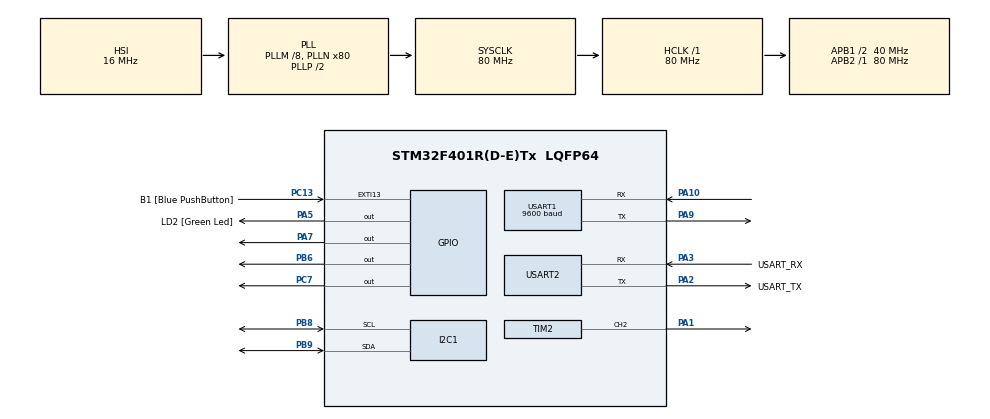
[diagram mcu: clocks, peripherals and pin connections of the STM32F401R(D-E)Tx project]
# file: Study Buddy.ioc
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Mcu.Family=STM32F4
Mcu.Name=STM32F401R(D-E)Tx
Mcu.Package=LQFP64
NVIC.PriorityGroup=NVIC_PRIORITYGROUP_0
NVIC.RTC_Alarm_IRQn=true\:0\:0\:false\:false\:true\:true\:true\:true
PA1.Signal=S_TIM2_CH2
PA10.Mode=Asynchronous
PA10.Signal=USART1_RX
PA13.GPIO_Label=TMS
PA13.Mode=Serial_Wire
PA13.Signal=SYS_JTMS-SWDIO
PA14.GPIO_Label=TCK
PA14.Mode=Serial_Wire
PA14.Signal=SYS_JTCK-SWCLK
PA2.GPIO_Label=USART_TX
PA2.GPIO_Mode=GPIO_MODE_AF_PP
PA2.GPIO_PuPd=GPIO_NOPULL
PA2.GPIO_Speed=GPIO_SPEED_FREQ_LOW
PA2.Mode=Asynchronous
PA2.Signal=USART2_TX
PA3.GPIO_Label=USART_RX
PA3.GPIO_Mode=GPIO_MODE_AF_PP
PA3.GPIO_PuPd=GPIO_NOPULL
PA3.GPIO_Speed=GPIO_SPEED_FREQ_LOW
PA3.Mode=Asynchronous
PA3.Signal=USART2_RX
PA5.GPIO_Label=LD2 [Green Led]
PA5.GPIO_Mode=GPIO_MODE_OUTPUT_PP
PA5.GPIO_PuPd=GPIO_NOPULL
PA5.GPIO_Speed=GPIO_SPEED_FREQ_LOW
PA5.Signal=GPIO_Output
PA7.Signal=GPIO_Output
PA9.Mode=Asynchronous
PA9.Signal=USART1_TX
PB3.GPIO_Label=SWO
PB3.Signal=SYS_JTDO-SWO
PB6.Signal=GPIO_Output
PB8.Mode=I2C
PB8.Signal=I2C1_SCL
PB9.Mode=I2C
PB9.Signal=I2C1_SDA
PC13-ANTI_TAMP.GPIO_Label=B1 [Blue PushButton]
PC13-ANTI_TAMP.GPIO_ModeDefaultEXTI=GPIO_MODE_IT_FALLING
PC13-ANTI_TAMP.GPIO_PuPd=GPIO_NOPULL
PC13-ANTI_TAMP.Signal=GPXTI13
PC14-OSC32_IN.Mode=LSE-External-Oscillator
PC14-OSC32_IN.Signal=RCC_OSC32_IN
PC15-OSC32_OUT.Mode=LSE-External-Oscillator
PC15-OSC32_OUT.Signal=RCC_OSC32_OUT
PC7.Signal=GPIO_Output
PH0\ -\ OSC_IN.Mode=HSE-External-Oscillator
PH0\ -\ OSC_IN.Signal=RCC_OSC_IN
PH1\ -\ OSC_OUT.Mode=HSE-External-Oscillator
PH1\ -\ OSC_OUT.Signal=RCC_OSC_OUT
ProjectManager.HeapSize=0x200
ProjectManager.StackSize=0x400
ProjectManager.TargetToolchain=STM32CubeIDE
RCC.48MHZClocksFreq_Value=22857142.85714286
RCC.AHBFreq_Value=80000000
RCC.APB1CLKDivider=RCC_HCLK_DIV2
RCC.APB1Freq_Value=40000000
RCC.APB1TimFreq_Value=80000000
RCC.APB2Freq_Value=80000000
RCC.APB2TimFreq_Value=80000000
RCC.CortexFreq_Value=80000000
RCC.HCLKFreq_Value=80000000
RCC.HSE_VALUE=8000000
RCC.HSI_VALUE=16000000
RCC.PLLM=8
RCC.PLLN=80
RCC.PLLQ=7
RCC.SYSCLKFreq_VALUE=80000000
RCC.SYSCLKSource=RCC_SYSCLKSOURCE_PLLCLK
RCC.VCOOutputFreq_Value=160000000
RTC.Alarm=RTC_ALARM_A
RTC.Seconds_A=1
SH.S_TIM2_CH2.0=TIM2_CH2,PWM Generation2 CH2
TIM2.AutoReloadPreload=TIM_AUTORELOAD_PRELOAD_ENABLE
TIM2.Channel-PWM\ Generation2\ CH2=TIM_CHANNEL_2
TIM2.Period=499
TIM2.Prescaler=83
TIM2.Pulse-PWM\ Generation2\ CH2=250
USART1.BaudRate=9600
USART1.VirtualMode=VM_ASYNC
USART2.VirtualMode=VM_ASYNC
VP_RTC_VS_RTC_Activate.Mode=RTC_Enabled
VP_RTC_VS_RTC_Alarm_A_Intern.Mode=Alarm A
VP_RTC_VS_RTC_Calendar.Mode=RTC_Calendar
VP_TIM2_VS_ClockSourceINT.Mode=Internal
board=NUCLEO-F401RE

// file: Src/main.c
/* USER CODE BEGIN Header */
/**
  ******************************************************************************
  * @file           : main.c
  * @brief          : Main program body
  ******************************************************************************
  * @attention
  *
  * Copyright (c) 2024 STMicroelectronics.
  * All rights reserved.
  *
  * This software is licensed under terms that can be found in the LICENSE file
  * in the root directory of this software component.
  * If no LICENSE file comes with this software, it is provided AS-IS.
  *
  ******************************************************************************
  */
/* USER CODE END Header */
#include "main.h"

/* USER CODE BEGIN Includes */
#include <string.h>
#include <stdio.h>
#include "stdio.h"
#include "i2c-lcd.h"
#include "custom_chars.h"

/* USER CODE END Includes */

I2C_HandleTypeDef hi2c1;

RTC_HandleTypeDef hrtc;

TIM_HandleTypeDef htim2;

UART_HandleTypeDef huart1;
UART_HandleTypeDef huart2;

/* USER CODE BEGIN PV */
char msg[20];
char receivedButton;
int curScreen = MAIN;
int alarmSet = 0;
int timerSet = 0;
int melody[] = {
    NOTE_C4, NOTE_G4, NOTE_F4, NOTE_C4, NOTE_E4, NOTE_E4, NOTE_F4, NOTE_C4, NOTE_F4, NOTE_C4, NOTE_E4, NOTE_E4, NOTE_F4,
    NOTE_C4, NOTE_G4, NOTE_F4, NOTE_C4, NOTE_E4, NOTE_E4, NOTE_F4, NOTE_C4, NOTE_F4, NOTE_A4, NOTE_G4, NOTE_F4, NOTE_G4
};
int noteDurations[] = {
    450, 450, 450, 450, 450, 450, 450, 450, 450, 450, 450, 450, 450,
	450, 450, 450, 450, 450, 450, 450, 450, 450, 450, 450, 450, 450
};
int alarmTriggered = 0;
uint8_t clock[8] = {0x00,
		  			0x00,
					0x0E,
					0x15,
					0x17,
					0x11,
					0x0E,
					0x00};

uint8_t bell[8] = {
  0x00,
  0x04,
  0x0E,
  0x0E,
  0x0E,
  0x1F,
  0x00,
  0x04
};

uint8_t check[8] = {
	0x00,
	0x00,
	0x00,
	0x01,
	0x02,
	0x14,
	0x08,
	0x00
};

/* USER CODE END PV */

void SystemClock_Config(void);
static void MX_GPIO_Init(void);
static void MX_USART2_UART_Init(void);
static void MX_RTC_Init(void);
static void MX_I2C1_Init(void);
static void MX_USART1_UART_Init(void);
static void MX_TIM2_Init(void);

int main(void)
{

  /* MCU Configuration--------------------------------------------------------*/

  /* Reset of all peripherals, Initializes the Flash interface and the Systick. */
  HAL_Init();

  /* Configure the system clock */
  SystemClock_Config();

  /* Initialize all configured peripherals */
  MX_GPIO_Init();
  MX_USART2_UART_Init();
  MX_RTC_Init();
  MX_I2C1_Init();
  MX_USART1_UART_Init();
  MX_TIM2_Init();
  /* USER CODE BEGIN 2 */

  HAL_RTC_DeactivateAlarm(&hrtc, RTC_ALARM_A);

  LCD_Init();
  LCD_Clear();
  LCD_Command(0x0F); // Display on, cursor on, blinking cursor on
  LCD_Command(0x80);

  HAL_Delay(50);
  LCD_Menu(TIME_SETUP);
  LCD_Menu(DATE_SETUP);

//  setRTCTimer(&hrtc, 15, 0, 0);
//  timerSet = 1;

  //  LCD_CreateChar(0, clock); //

  LCD_CreateCustomChar(CHAR_CLOCK, clock);
  LCD_CreateCustomChar(CHAR_BELL, bell);
  LCD_CreateCustomChar(CHAR_CHECK, check);

//  LCD_Data(CHAR_CLOCK);
//  LCD_Print("Hello!");

  /* USER CODE END 2 */

  /* Infinite loop */
  /* USER CODE BEGIN WHILE */
  while (1)
  {
//	  printCurrentTime();
	  				sprintf(msg, "T:%d\r\n", curScreen);
	  				HAL_UART_Transmit(&huart2, (uint8_t*)msg, strlen(msg), HAL_MAX_DELAY);
	  				int menuResult = LCD_Menu(curScreen);  // Process current menu
	  				    if (menuResult == SET_TIMER) {
	  				        curScreen = SET_TIMER;  // After setting the timer, return to the main menu
	  				        timerSet = 1;      // Indicate that the timer is set
	  				    } else if (menuResult == SET_ALARM) {
	  				        curScreen = SET_ALARM;  // After setting the alarm, return to the main menu
	  				        alarmSet = 1;      // Indicate that the alarm is set
	  				    } else if (menuResult == MAIN) {
	  				        curScreen = MAIN;  // Stay in the main menu
	  				    }
  }
    /* USER CODE END WHILE */

}

void SystemClock_Config(void)
{
  RCC_OscInitTypeDef RCC_OscInitStruct = {0};
  RCC_ClkInitTypeDef RCC_ClkInitStruct = {0};

  /** Configure the main internal regulator output voltage
  */
  __HAL_RCC_PWR_CLK_ENABLE();
  __HAL_PWR_VOLTAGESCALING_CONFIG(PWR_REGULATOR_VOLTAGE_SCALE2);

  /** Initializes the RCC Oscillators according to the specified parameters
  * in the RCC_OscInitTypeDef structure.
  */
  RCC_OscInitStruct.OscillatorType = RCC_OSCILLATORTYPE_HSI|RCC_OSCILLATORTYPE_LSI;
  RCC_OscInitStruct.HSIState = RCC_HSI_ON;
  RCC_OscInitStruct.HSICalibrationValue = RCC_HSICALIBRATION_DEFAULT;
  RCC_OscInitStruct.LSIState = RCC_LSI_ON;
  RCC_OscInitStruct.PLL.PLLState = RCC_PLL_ON;
  RCC_OscInitStruct.PLL.PLLSource = RCC_PLLSOURCE_HSI;
  RCC_OscInitStruct.PLL.PLLM = 8;
  RCC_OscInitStruct.PLL.PLLN = 80;
  RCC_OscInitStruct.PLL.PLLP = RCC_PLLP_DIV2;
  RCC_OscInitStruct.PLL.PLLQ = 7;
  if (HAL_RCC_OscConfig(&RCC_OscInitStruct) != HAL_OK)
  {
    Error_Handler();
  }

  /** Initializes the CPU, AHB and APB buses clocks
  */
  RCC_ClkInitStruct.ClockType = RCC_CLOCKTYPE_HCLK|RCC_CLOCKTYPE_SYSCLK
                              |RCC_CLOCKTYPE_PCLK1|RCC_CLOCKTYPE_PCLK2;
  RCC_ClkInitStruct.SYSCLKSource = RCC_SYSCLKSOURCE_PLLCLK;
  RCC_ClkInitStruct.AHBCLKDivider = RCC_SYSCLK_DIV1;
  RCC_ClkInitStruct.APB1CLKDivider = RCC_HCLK_DIV2;
  RCC_ClkInitStruct.APB2CLKDivider = RCC_HCLK_DIV1;

  if (HAL_RCC_ClockConfig(&RCC_ClkInitStruct, FLASH_LATENCY_2) != HAL_OK)
  {
    Error_Handler();
  }
}

static void MX_I2C1_Init(void)
{

  hi2c1.Instance = I2C1;
  hi2c1.Init.ClockSpeed = 100000;
  hi2c1.Init.DutyCycle = I2C_DUTYCYCLE_2;
  hi2c1.Init.OwnAddress1 = 0;
  hi2c1.Init.AddressingMode = I2C_ADDRESSINGMODE_7BIT;
  hi2c1.Init.DualAddressMode = I2C_DUALADDRESS_DISABLE;
  hi2c1.Init.OwnAddress2 = 0;
  hi2c1.Init.GeneralCallMode = I2C_GENERALCALL_DISABLE;
  hi2c1.Init.NoStretchMode = I2C_NOSTRETCH_DISABLE;
  if (HAL_I2C_Init(&hi2c1) != HAL_OK)
  {
    Error_Handler();
  }

}

static void MX_RTC_Init(void)
{

  /* USER CODE BEGIN RTC_Init 0 */
	HAL_NVIC_SetPriority(RTC_Alarm_IRQn, 0, 0);
	HAL_NVIC_EnableIRQ(RTC_Alarm_IRQn);
  /* USER CODE END RTC_Init 0 */

  RTC_TimeTypeDef sTime = {0};
  RTC_DateTypeDef sDate = {0};
  RTC_AlarmTypeDef sAlarm = {0};

  /** Initialize RTC Only
  */
  hrtc.Instance = RTC;
  hrtc.Init.HourFormat = RTC_HOURFORMAT_24;
  hrtc.Init.AsynchPrediv = 127;
  hrtc.Init.SynchPrediv = 255;
  hrtc.Init.OutPut = RTC_OUTPUT_DISABLE;
  hrtc.Init.OutPutPolarity = RTC_OUTPUT_POLARITY_HIGH;
  hrtc.Init.OutPutType = RTC_OUTPUT_TYPE_OPENDRAIN;
  if (HAL_RTC_Init(&hrtc) != HAL_OK)
  {
    Error_Handler();
  }

  /** Initialize RTC and set the Time and Date
  */
  sTime.Hours = 0x0;
  sTime.Minutes = 0x0;
  sTime.Seconds = 0x0;
  sTime.DayLightSaving = RTC_DAYLIGHTSAVING_NONE;
  sTime.StoreOperation = RTC_STOREOPERATION_RESET;
  if (HAL_RTC_SetTime(&hrtc, &sTime, RTC_FORMAT_BCD) != HAL_OK)
  {
    Error_Handler();
  }
  sDate.WeekDay = RTC_WEEKDAY_MONDAY;
  sDate.Month = RTC_MONTH_JANUARY;
  sDate.Date = 0x1;
  sDate.Year = 0x0;

  if (HAL_RTC_SetDate(&hrtc, &sDate, RTC_FORMAT_BCD) != HAL_OK)
  {
    Error_Handler();
  }

  /** Enable the Alarm A
  */
  sAlarm.AlarmTime.Hours = 0x0;
  sAlarm.AlarmTime.Minutes = 0x0;
  sAlarm.AlarmTime.Seconds = 0x1;
  sAlarm.AlarmTime.SubSeconds = 0x0;
  sAlarm.AlarmTime.DayLightSaving = RTC_DAYLIGHTSAVING_NONE;
  sAlarm.AlarmTime.StoreOperation = RTC_STOREOPERATION_RESET;
  sAlarm.AlarmMask = RTC_ALARMMASK_NONE;
  sAlarm.AlarmSubSecondMask = RTC_ALARMSUBSECONDMASK_ALL;
  sAlarm.AlarmDateWeekDaySel = RTC_ALARMDATEWEEKDAYSEL_DATE;
  sAlarm.AlarmDateWeekDay = 0x1;
  sAlarm.Alarm = RTC_ALARM_A;
  if (HAL_RTC_SetAlarm_IT(&hrtc, &sAlarm, RTC_FORMAT_BCD) != HAL_OK)
  {
    Error_Handler();
  }

}

static void MX_TIM2_Init(void)
{

  TIM_ClockConfigTypeDef sClockSourceConfig = {0};
  TIM_MasterConfigTypeDef sMasterConfig = {0};
  TIM_OC_InitTypeDef sConfigOC = {0};

  htim2.Instance = TIM2;
  htim2.Init.Prescaler = 83;
  htim2.Init.CounterMode = TIM_COUNTERMODE_UP;
  htim2.Init.Period = 499;
  htim2.Init.ClockDivision = TIM_CLOCKDIVISION_DIV1;
  htim2.Init.AutoReloadPreload = TIM_AUTORELOAD_PRELOAD_ENABLE;
  if (HAL_TIM_Base_Init(&htim2) != HAL_OK)
  {
    Error_Handler();
  }
  sClockSourceConfig.ClockSource = TIM_CLOCKSOURCE_INTERNAL;
  if (HAL_TIM_ConfigClockSource(&htim2, &sClockSourceConfig) != HAL_OK)
  {
    Error_Handler();
  }
  if (HAL_TIM_PWM_Init(&htim2) != HAL_OK)
  {
    Error_Handler();
  }
  sMasterConfig.MasterOutputTrigger = TIM_TRGO_RESET;
  sMasterConfig.MasterSlaveMode = TIM_MASTERSLAVEMODE_DISABLE;
  if (HAL_TIMEx_MasterConfigSynchronization(&htim2, &sMasterConfig) != HAL_OK)
  {
    Error_Handler();
  }
  sConfigOC.OCMode = TIM_OCMODE_PWM1;
  sConfigOC.Pulse = 250;
  sConfigOC.OCPolarity = TIM_OCPOLARITY_HIGH;
  sConfigOC.OCFastMode = TIM_OCFAST_DISABLE;
  if (HAL_TIM_PWM_ConfigChannel(&htim2, &sConfigOC, TIM_CHANNEL_2) != HAL_OK)
  {
    Error_Handler();
  }
  HAL_TIM_MspPostInit(&htim2);

}

static void MX_USART1_UART_Init(void)
{

  /* USER CODE BEGIN USART1_Init 0 */
//	_HAL_RCC_USART1_CLK_ENABLE();

  /* USER CODE END USART1_Init 0 */

  huart1.Instance = USART1;
  huart1.Init.BaudRate = 9600;
  huart1.Init.WordLength = UART_WORDLENGTH_8B;
  huart1.Init.StopBits = UART_STOPBITS_1;
  huart1.Init.Parity = UART_PARITY_NONE;
  huart1.Init.Mode = UART_MODE_TX_RX;
  huart1.Init.HwFlowCtl = UART_HWCONTROL_NONE;
  huart1.Init.OverSampling = UART_OVERSAMPLING_16;
  if (HAL_UART_Init(&huart1) != HAL_OK)
  {
    Error_Handler();
  }

}

static void MX_USART2_UART_Init(void)
{

  huart2.Instance = USART2;
  huart2.Init.BaudRate = 115200;
  huart2.Init.WordLength = UART_WORDLENGTH_8B;
  huart2.Init.StopBits = UART_STOPBITS_1;
  huart2.Init.Parity = UART_PARITY_NONE;
  huart2.Init.Mode = UART_MODE_TX_RX;
  huart2.Init.HwFlowCtl = UART_HWCONTROL_NONE;
  huart2.Init.OverSampling = UART_OVERSAMPLING_16;
  if (HAL_UART_Init(&huart2) != HAL_OK)
  {
    Error_Handler();
  }

}

static void MX_GPIO_Init(void)
{
  GPIO_InitTypeDef GPIO_InitStruct = {0};

  /* GPIO Ports Clock Enable */
  __HAL_RCC_GPIOC_CLK_ENABLE();
  __HAL_RCC_GPIOH_CLK_ENABLE();
  __HAL_RCC_GPIOA_CLK_ENABLE();
  __HAL_RCC_GPIOB_CLK_ENABLE();

  /*Configure GPIO pin Output Level */
  HAL_GPIO_WritePin(GPIOA, LD2_Pin|GPIO_PIN_7, GPIO_PIN_RESET);

  /*Configure GPIO pin Output Level */
  HAL_GPIO_WritePin(GPIOC, GPIO_PIN_7, GPIO_PIN_RESET);

  /*Configure GPIO pin Output Level */
  HAL_GPIO_WritePin(GPIOB, GPIO_PIN_6, GPIO_PIN_RESET);

  /*Configure GPIO pin : B1_Pin */
  GPIO_InitStruct.Pin = B1_Pin;
  GPIO_InitStruct.Mode = GPIO_MODE_IT_FALLING;
  GPIO_InitStruct.Pull = GPIO_NOPULL;
  HAL_GPIO_Init(B1_GPIO_Port, &GPIO_InitStruct);

  /*Configure GPIO pins : LD2_Pin PA7 */
  GPIO_InitStruct.Pin = LD2_Pin|GPIO_PIN_7;
  GPIO_InitStruct.Mode = GPIO_MODE_OUTPUT_PP;
  GPIO_InitStruct.Pull = GPIO_NOPULL;
  GPIO_InitStruct.Speed = GPIO_SPEED_FREQ_LOW;
  HAL_GPIO_Init(GPIOA, &GPIO_InitStruct);

  /*Configure GPIO pin : PC7 */
  GPIO_InitStruct.Pin = GPIO_PIN_7;
  GPIO_InitStruct.Mode = GPIO_MODE_OUTPUT_PP;
  GPIO_InitStruct.Pull = GPIO_NOPULL;
  GPIO_InitStruct.Speed = GPIO_SPEED_FREQ_LOW;
  HAL_GPIO_Init(GPIOC, &GPIO_InitStruct);

  /*Configure GPIO pin : PB6 */
  GPIO_InitStruct.Pin = GPIO_PIN_6;
  GPIO_InitStruct.Mode = GPIO_MODE_OUTPUT_PP;
  GPIO_InitStruct.Pull = GPIO_NOPULL;
  GPIO_InitStruct.Speed = GPIO_SPEED_FREQ_LOW;
  HAL_GPIO_Init(GPIOB, &GPIO_InitStruct);

}

/* USER CODE BEGIN 4 */
void printCurrentTime(){
	RTC_TimeTypeDef currentTime;
	RTC_DateTypeDef currentDate;

	HAL_RTC_GetTime(&hrtc, &currentTime, FORMAT_BIN);
	HAL_RTC_GetDate(&hrtc, &currentDate, FORMAT_BIN);

	sprintf(msg, "%02d:%02d:%02d", currentTime.Hours, currentTime.Minutes, currentTime.Seconds);
	HAL_UART_Transmit(&huart2, (uint8_t*)msg, strlen(msg), HAL_MAX_DELAY);
}

int LCD_Menu(int menu){
	if (menu == MAIN){
		char timeBuffer[10];    // Buffer for "HH:MM" (5 chars + 1 null terminator)
		char dateBuffer[10];
		char menuLine1[20];    // Buffer for full LCD line (adjust size as needed)
		char menuLine2[20];
		char remainBuffer[10] = {0};
		int pos = 0;
		uint32_t lastUpdate = HAL_GetTick(); // For time updates

		RTC_TimeTypeDef currentTime;
		RTC_DateTypeDef currentDate;

						    // Get the current time and date
		while (true){
			if (HAL_UART_Receive(&huart1, (uint8_t*)&receivedButton, 1, 10) == HAL_OK){
				sprintf(msg, "%d\r\n", pos);
											HAL_UART_Transmit(&huart2, (uint8_t*)msg, strlen(msg), HAL_MAX_DELAY);
				if (receivedButton == 'L') {
					LCD_Command(0x10); // Move cursor left
					--pos;
					LCD_Command(0x80 + pos); // Update cursor position
				}
				else if (receivedButton == 'R') {
					LCD_Command(0x14); // Move cursor right
					++pos;
					LCD_Command(0x80 + pos); // Update cursor position
				} else if ((pos == 14) && (receivedButton == '0')){
					return SET_TIMER;
				} else if ((pos == 15) && (receivedButton == '0')){
					return SET_ALARM;
				}
			}
			if (HAL_GetTick() - lastUpdate >= 1000) { // 1-second interval
			    lastUpdate = HAL_GetTick();
				HAL_RTC_GetTime(&hrtc, &currentTime, FORMAT_BIN);
				HAL_RTC_GetDate(&hrtc, &currentDate, FORMAT_BIN);

						//				    // Format the time as "HH:MM"
						//		LCD_Data(CHAR_CLOCK);
				snprintf(timeBuffer, sizeof(timeBuffer), "%02d:%02d", currentTime.Hours, currentTime.Minutes);
				snprintf(dateBuffer, sizeof(dateBuffer), "%02d-%02d", currentDate.Month, currentDate.Date);

				if (timerSet){
					timeRemainingRTCTimer(&hrtc, remainBuffer);
				} else if (alarmSet){
					alarmTimeRTCAlarm(&hrtc, remainBuffer);
				} else {
					for (int i = 0; i < 10; i++) {
					    remainBuffer[i] = 0;
					}
				}
											// Construct the menu string for the first line: "T HH:MM    X"
				snprintf(menuLine1, sizeof(menuLine1), "%s         Z", timeBuffer);
				snprintf(menuLine2, sizeof(menuLine2), "%s   %s", dateBuffer,remainBuffer);
				uint8_t savedCursorPos = pos;
											 //Display the menu on the LCD
				LCD_Command(0x80);     // Move cursor to the first line, first column
				LCD_DisplayCustomChar(CHAR_CLOCK);
				LCD_Command(0x80+1);
				LCD_Print(menuLine1);  // Print the formatted menu string
				LCD_Command(0xC0);
				LCD_Print(menuLine2);
				LCD_Command(0x80);
				LCD_Command(0x80+14);
				LCD_DisplayCustomChar(CHAR_BELL);

				LCD_Command(0x80 + savedCursorPos);

			}
			if (alarmTriggered){
				LCD_Command(0xC0+8);
				LCD_Print("TIMES UP");
				playTone();
				flashRGB();
				LCD_Command(0xC0+6);
				LCD_Clear();
				alarmTriggered = 0;
				timerSet = 0;
				alarmSet = 0;
			}
		}
	} else if (menu == TIME_SETUP){
		int pos = 0;
		int array[5];

		LCD_Command(0x80);
		LCD_Print("Current Time:");
		LCD_Command(0xC0);
		LCD_Print("HH:MM Y");
//		LCD_Command(0xC0+6);
//		LCD_DisplayCustomChar(CHAR_CHECK);
		LCD_Command(0xC0);
		while (true){
			if (HAL_UART_Receive(&huart1, (uint8_t*)&receivedButton, 1, HAL_MAX_DELAY) == HAL_OK) {
					if (receivedButton == 'L') {
						LCD_Command(0x10); // Move cursor left
						--pos;
					}
					else if (receivedButton == 'R') {
						LCD_Command(0x14); // Move cursor right
						++pos;
					}
					else {
						if ((pos == 6) && (receivedButton == '0')){
							LCD_Clear();

							RTC_TimeTypeDef sTime;

							sTime.Hours = array[0]*10+array[1];    // 3 PM (in 24-hour format)
							sTime.Minutes = array[3]*10+array[4];  // 30 minutes
							sTime.Seconds = 0;   // 0 seconds
							sTime.TimeFormat = RTC_HOURFORMAT_24;  // Set to 24-hour format
							sTime.DayLightSaving = RTC_DAYLIGHTSAVING_NONE;  // No daylight saving time
							sTime.StoreOperation = RTC_STOREOPERATION_RESET;  // No store operation

							    // Set the time using HAL_RTC_SetTime function
							if (HAL_RTC_SetTime(&hrtc, &sTime, RTC_FORMAT_BIN) != HAL_OK) {
								Error_Handler();}
							return MAIN;
							break;
						} else if (pos == 0 || pos == 1 || pos == 3 || pos == 4){
							sprintf(msg, "%c", receivedButton); // Only send the character to LCD
							LCD_Print(msg); // Display the received character
							array[pos] = receivedButton - '0';
							++pos;
						}
					}

				}
		}
	} else if (menu == DATE_SETUP){
		int pos = 0;
		uint8_t array[5];

		LCD_Command(0x80);
		LCD_Print("Current Date:");
		LCD_Command(0xC0);
		LCD_Print("MM-DD Y");
		LCD_Command(0xC0);
		while (true){
			if (HAL_UART_Receive(&huart1, (uint8_t*)&receivedButton, 1, HAL_MAX_DELAY) == HAL_OK) {
				if (receivedButton == 'L') {
					LCD_Command(0x10); // Move cursor left
					--pos;
							}
				else if (receivedButton == 'R') {
					LCD_Command(0x14); // Move cursor right
					++pos;
						}
				else {
					if ((pos == 6) && (receivedButton == '0')){
						LCD_Clear();
						RTC_DateTypeDef sDate;

						sDate.WeekDay = RTC_WEEKDAY_MONDAY;
						sDate.Month = array[0]*10 + array[1];
						sDate.Date = array[3]*10 + array[4];
						sDate.Year = 0x0;

						if (HAL_RTC_SetDate(&hrtc, &sDate, RTC_FORMAT_BIN) != HAL_OK) {
							Error_Handler();}
						return MAIN;
						break;
					} else if (pos == 0 || pos == 1 || pos == 3 || pos == 4){
						sprintf(msg, "%c", receivedButton); // Only send the character to LCD
						LCD_Print(msg); // Display the received character
						array[pos] = receivedButton - '0';
						++pos;
					}
				}

			}
		}
	} else if (menu == SET_TIMER){
		int pos = 0;
		int array[8];

		LCD_Clear();
		LCD_Command(0x80);
		LCD_Print("Timer Length:");
		LCD_Command(0xC0);
		LCD_Print("HH:MM:SS Y");
		LCD_Command(0xC0);
		while (true){
			if (HAL_UART_Receive(&huart1, (uint8_t*)&receivedButton, 1, HAL_MAX_DELAY) == HAL_OK) {
							// Format received button for UART transmission
							// Handle received button for LCD
							if (receivedButton == 'L') {
								LCD_Command(0x10); // Move cursor left
								--pos;
							}
							else if (receivedButton == 'R') {
								LCD_Command(0x14); // Move cursor right
								++pos;
							}
							else {
								if ((pos == 9) && (receivedButton == '0')){
									LCD_Clear();
									setRTCTimer(&hrtc, array[6]*10+array[7], array[3]*10+array[4], array[0]*10+array[1]);
									pos = 0;
									LCD_Command(0x80);
									return MAIN;
									break;

								} else if (pos == 0 || pos == 1 || pos == 3 || pos == 4 || pos == 6 || pos == 7){
									sprintf(msg, "%c", receivedButton); // Only send the character to LCD
									LCD_Print(msg); // Display the received character
									array[pos] = receivedButton - '0';
									++pos;
								}
							}
						}
				}
	}else if (menu == SET_ALARM){
			int pos = 0;
			int array[5];

			LCD_Clear();
			LCD_Command(0x80);
			LCD_Print("Alarm End:");
			LCD_Command(0xC0);
			LCD_Print("HH:MM Y");
			LCD_Command(0xC0);
			while (true){
				if (HAL_UART_Receive(&huart1, (uint8_t*)&receivedButton, 1, HAL_MAX_DELAY) == HAL_OK) {
								// Format received button for UART transmission
								// Handle received button for LCD
								if (receivedButton == 'L') {
									LCD_Command(0x10); // Move cursor left
									--pos;
								}
								else if (receivedButton == 'R') {
									LCD_Command(0x14); // Move cursor right
									++pos;
								}
								else {
									if ((pos == 6) && (receivedButton == '0')){
										LCD_Clear();
										setRTCAlarm(&hrtc, array[3]*10+array[4], array[0]*10+array[1]);
										return MAIN;
										break;
									} else if (pos == 0 || pos == 1 || pos == 3 || pos == 4 ){
										sprintf(msg, "%c", receivedButton); // Only send the character to LCD
										LCD_Print(msg); // Display the received character
										array[pos] = receivedButton - '0';
										++pos;
									}
								}
							}
					}
		}

	return 1;
}

void setRTCAlarm(RTC_HandleTypeDef *hrtc, int min, int hour){
	// sets an alarm to specified time
	RTC_AlarmTypeDef sAlarm;
	RTC_TimeTypeDef currentTime;

	HAL_RTC_GetTime(hrtc, &currentTime, FORMAT_BIN); // gets current time

	sAlarm.AlarmTime.Seconds = 0;
	sAlarm.AlarmTime.Minutes = min;
	sAlarm.AlarmTime.Hours = hour;
	if(sAlarm.AlarmTime.Minutes >= 60){ // handles minute overflow
			sAlarm.AlarmTime.Minutes -= 60;
			++sAlarm.AlarmTime.Hours;
	}
	if(sAlarm.AlarmTime.Hours >= 24){ // handles hour overflow
			sAlarm.AlarmTime.Hours -= 24;
	}

	sAlarm.AlarmMask = RTC_ALARMMASK_DATEWEEKDAY; // ignores date
	sAlarm.Alarm = RTC_ALARM_A;

	while(HAL_RTC_SetAlarm_IT(hrtc, &sAlarm, FORMAT_BIN) != HAL_OK){}
	// keeps on setting alarm until it works
}

void setRTCTimer(RTC_HandleTypeDef *hrtc, int sec, int min, int hour){
	// sets an alarm to specified time
	RTC_AlarmTypeDef sAlarm;
	RTC_TimeTypeDef currentTime;

	HAL_RTC_GetTime(hrtc, &currentTime, RTC_FORMAT_BIN); // gets current time

	// Add seconds, minutes, and hours to the current time
	int new_seconds = currentTime.Seconds + sec;
	int new_minutes = currentTime.Minutes + min + (new_seconds / 60);
	int new_hours = currentTime.Hours + hour + (new_minutes / 60);

	    // Handle overflow
	new_seconds %= 60;
	new_minutes %= 60;
	new_hours %= 24;

	if (hour == 0 && min == 0 && sec == 0) {
	    new_seconds += 1;  // Prevent alarm from being set to the current second
	}
	    // Set the alarm time
	sAlarm.AlarmTime.Seconds = new_seconds;
	sAlarm.AlarmTime.Minutes = new_minutes;
	sAlarm.AlarmTime.Hours = new_hours;
	sAlarm.AlarmTime.SubSeconds = 0;
	sAlarm.AlarmTime.DayLightSaving = RTC_DAYLIGHTSAVING_NONE;
	sAlarm.AlarmTime.StoreOperation = RTC_STOREOPERATION_RESET;

	    // Configure the alarm
	sAlarm.AlarmMask = RTC_ALARMMASK_DATEWEEKDAY; // ignores date
	sAlarm.AlarmDateWeekDaySel = RTC_ALARMDATEWEEKDAYSEL_DATE;
	sAlarm.AlarmDateWeekDay = RTC_WEEKDAY_MONDAY; // Current day (placeholder)
	sAlarm.Alarm = RTC_ALARM_A;

	    // Set the alarm and enable interrupt
	if (HAL_RTC_SetAlarm_IT(hrtc, &sAlarm, RTC_FORMAT_BIN) != HAL_OK) {
		Error_Handler();
	}
}

void HAL_RTC_AlarmAEventCallback(RTC_HandleTypeDef *hrtc){
	sprintf(msg, "%s\r\n", "Alarm Triggered!");
	HAL_UART_Transmit(&huart2, (uint8_t*)msg, strlen(msg), HAL_MAX_DELAY);

	if (HAL_RTC_DeactivateAlarm(hrtc, RTC_ALARM_A) != HAL_OK) {
	        // Handle deactivation error
	        sprintf(msg, "Failed to deactivate alarm\n");
	        HAL_UART_Transmit(&huart2, (uint8_t*)msg, strlen(msg), HAL_MAX_DELAY);
	    }

	alarmTriggered = 1;

//	LCD_Print("Alarm Triggered!"); // Example

//	LCD_Clear();
}

void timeRemainingRTCTimer(RTC_HandleTypeDef *hrtc, char *msg){
	RTC_TimeTypeDef currentTime;
	RTC_DateTypeDef currentDate;
    RTC_AlarmTypeDef alarmTime;

    HAL_RTC_GetTime(hrtc, &currentTime, RTC_FORMAT_BIN);
    HAL_RTC_GetDate(hrtc, &currentDate, RTC_FORMAT_BIN);

    if (HAL_RTC_GetAlarm(hrtc, &alarmTime, RTC_ALARM_A, RTC_FORMAT_BIN) == HAL_OK) {
    	uint32_t currentSeconds = currentTime.Hours * 3600 + currentTime.Minutes * 60 + currentTime.Seconds;
    	uint32_t alarmSeconds = alarmTime.AlarmTime.Hours * 3600 + alarmTime.AlarmTime.Minutes * 60 + alarmTime.AlarmTime.Seconds;

        uint32_t secondsLeft;

        if (currentSeconds <= alarmSeconds) {
                // Alarm is later today
        	secondsLeft = alarmSeconds - currentSeconds;
        } else {
                // Alarm is for the next day
        	secondsLeft = ((24 * 3600) - currentSeconds) + alarmSeconds;
        }
        uint8_t hours = secondsLeft / 3600;
        uint8_t minutes = (secondsLeft % 3600) / 60;
        uint8_t seconds = secondsLeft % 60;

        snprintf(msg, 10, "%02d:%02d:%02d", hours, minutes, seconds);
    } else {
    	// Handle error in retrieving alarm
    	char errorMsg[] = "Error reading RTC alarm\r\n";
    	HAL_UART_Transmit(&huart2, (uint8_t *)errorMsg, strlen(errorMsg), HAL_MAX_DELAY);
    }
}

void alarmTimeRTCAlarm(RTC_HandleTypeDef *hrtc, char *msg){
	RTC_TimeTypeDef currentTime;
	RTC_DateTypeDef currentDate;
    RTC_AlarmTypeDef alarmTime;

    HAL_RTC_GetTime(hrtc, &currentTime, RTC_FORMAT_BIN);
    HAL_RTC_GetDate(hrtc, &currentDate, RTC_FORMAT_BIN);

    if (HAL_RTC_GetAlarm(hrtc, &alarmTime, RTC_ALARM_A, RTC_FORMAT_BIN) == HAL_OK) {
        snprintf(msg, 10, "   %02d:%02d", alarmTime.AlarmTime.Hours, alarmTime.AlarmTime.Minutes);
    } else {
    	// Handle error in retrieving alarm
    	char errorMsg[] = "Error reading RTC alarm\r\n";
    	HAL_UART_Transmit(&huart2, (uint8_t *)errorMsg, strlen(errorMsg), HAL_MAX_DELAY);
    }
}

void setTone(int frequency) {
    // If the frequency is 0, stop the tone
    if (frequency == 0) {
        HAL_TIM_PWM_Stop(&htim2, TIM_CHANNEL_2);
        return;
    }

    // Calculate the period (ARR value) for the frequency
    uint32_t period = HAL_RCC_GetPCLK1Freq() / (htim2.Init.Prescaler + 1) / frequency - 1;

    // Update the PWM frequency (period)
    __HAL_TIM_SET_AUTORELOAD(&htim2, period);

    // Set the duty cycle (50% duty cycle for simplicity)
    __HAL_TIM_SET_COMPARE(&htim2, TIM_CHANNEL_2, period / 2);

    // Start PWM output
    HAL_TIM_PWM_Start(&htim2, TIM_CHANNEL_2);
}

void playTone(){
	for (int i = 0; i < sizeof(melody) / sizeof(melody[0]); i++) {
		        int note = melody[i];
		        int duration = noteDurations[i];

		        // Play the note
		        setTone(note);

		        // Wait for the note to finish playing
		        HAL_Delay(duration);

		        // Stop the tone after the note duration
		        setTone(0);  // Stop the tone
	        HAL_Delay(20);  // Short delay between notes
	}
}

void setRGB(uint8_t red, uint8_t green, uint8_t blue) {
    HAL_GPIO_WritePin(GPIOC, GPIO_PIN_7, red ? GPIO_PIN_SET : GPIO_PIN_RESET);
    HAL_GPIO_WritePin(GPIOB, GPIO_PIN_6, green ? GPIO_PIN_SET : GPIO_PIN_RESET);
    HAL_GPIO_WritePin(GPIOA, GPIO_PIN_7, blue ? GPIO_PIN_SET : GPIO_PIN_RESET);
}

void flashRGB(){
	HAL_Delay(500);
	setRGB(0,0,1);
	HAL_Delay(500);
	setRGB(0,0,0);
	HAL_Delay(500);
	setRGB(0,0,1);
	HAL_Delay(500);
	setRGB(0,0,0);
	HAL_Delay(500);
	setRGB(0,0,1);
	HAL_Delay(500);
	setRGB(0,0,0);
	HAL_Delay(500);
	setRGB(0,0,1);
	HAL_Delay(500);
	setRGB(0,0,0);
	HAL_Delay(500);
	setRGB(0,0,1);
	HAL_Delay(500);
	setRGB(0,0,0);
	HAL_Delay(500);
}

/* USER CODE END 4 */

void Error_Handler(void)
{
  __disable_irq();
  while (1)
  {
  }
}
